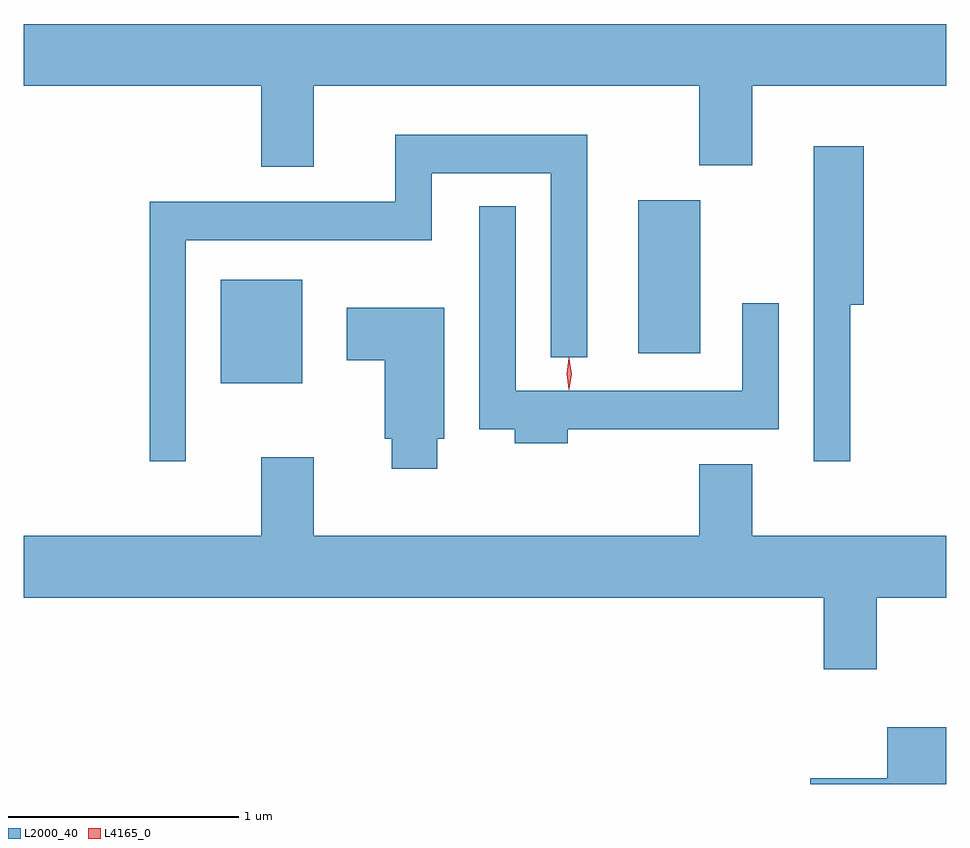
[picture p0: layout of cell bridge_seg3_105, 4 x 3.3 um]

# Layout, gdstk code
import gdstk
lib = gdstk.Library(unit=1e-6, precision=1e-09)
def R(c, l, rs):  # rectangles x0, y0, x1, y1
    for r in rs: c.add(gdstk.rectangle(r[:2], r[2:], *l))
def P(c, l, *ps):  # polygons
    for p in ps: c.add(gdstk.Polygon(p, *l))
L2000_40 = (2000, 40)
L4165_0 = (4165, 0)

bridge_seg3_105 = lib.new_cell('bridge_seg3_105')
R(bridge_seg3_105, L2000_40, [(1022.636,1215.746,1022.989,1216.194), (1024.446,1215.876,1024.714,1216.539)])
P(bridge_seg3_105, L2000_40, [(1023.039,1217.036),(1024.711,1217.036),(1024.711,1216.691),(1024.939,1216.691),(1024.939,1217.036),(1025.781,1217.036),(1025.781,1217.304),(1021.781,1217.304),(1021.781,1217.036),(1022.811,1217.036),(1022.811,1216.686),(1023.039,1216.686)],
  [(1022.484,1216.366),(1023.549,1216.366),(1023.549,1216.656),(1024.066,1216.656),(1024.066,1215.858),(1024.224,1215.858),(1024.224,1216.824),(1023.391,1216.824),(1023.391,1216.534),(1022.326,1216.534),(1022.326,1215.408),(1022.484,1215.408)],
  [(1025.364,1216.086),(1025.424,1216.086),(1025.424,1216.774),(1025.206,1216.774),(1025.206,1215.408),(1025.364,1215.408)],
  [(1024.139,1215.546),(1025.054,1215.546),(1025.054,1216.093),(1024.896,1216.093),(1024.896,1215.714),(1023.914,1215.714),(1023.914,1216.513),(1023.756,1216.513),(1023.756,1215.546),(1023.911,1215.546),(1023.911,1215.486),(1024.139,1215.486)],
  [(1023.574,1215.506),(1023.604,1215.506),(1023.604,1216.074),(1023.181,1216.074),(1023.181,1215.846),(1023.346,1215.846),(1023.346,1215.506),(1023.376,1215.506),(1023.376,1215.376),(1023.574,1215.376)],
  [(1025.479,1214.816),(1025.781,1214.816),(1025.781,1215.084),(1024.939,1215.084),(1024.939,1215.394),(1024.711,1215.394),(1024.711,1215.084),(1023.039,1215.084),(1023.039,1215.424),(1022.811,1215.424),(1022.811,1215.084),(1021.781,1215.084),(1021.781,1214.816),(1025.251,1214.816),(1025.251,1214.506),(1025.479,1214.506)],
  [(1025.781,1214.254),(1025.526,1214.254),(1025.526,1214.034),(1025.191,1214.034),(1025.191,1214.008),(1025.781,1214.008)])
P(bridge_seg3_105, L4165_0, [(1024.145,1215.717),(1024.136,1215.787),(1024.145,1215.856),(1024.146,1215.856),(1024.146,1215.856),(1024.156,1215.787),(1024.146,1215.717),(1024.146,1215.717)],
  [(1024.147,1215.719),(1024.146,1215.72),(1024.137,1215.786),(1024.146,1215.852),(1024.147,1215.853),(1024.147,1215.852),(1024.157,1215.786),(1024.147,1215.72)])

lib.write_gds('bridge_seg3_105.gds')
